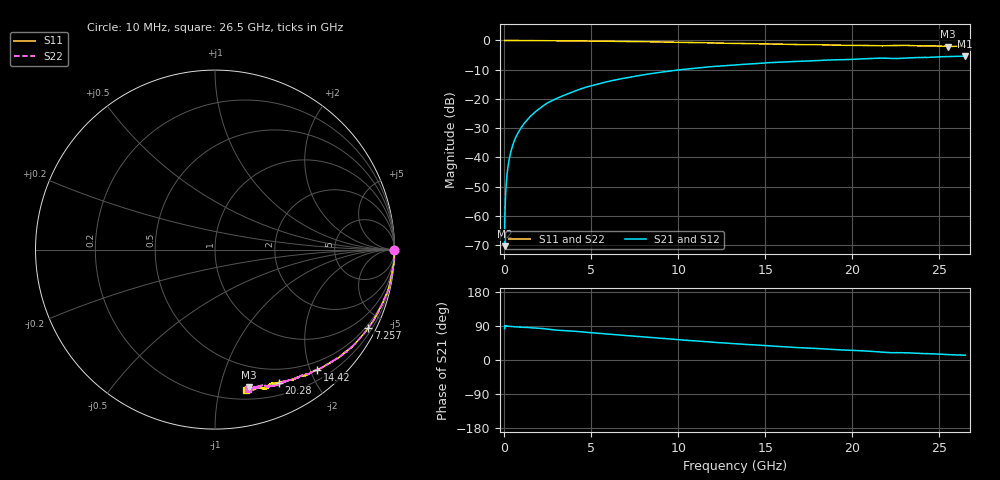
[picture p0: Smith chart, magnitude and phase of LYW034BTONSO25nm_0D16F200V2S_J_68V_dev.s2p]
!Keysight Technologies,N5222B,MY61253708,A.15.00.15
!Date: Wednesday, June 19, 2024 09:17:37
!Correction: S11(C  2-Port  )
!S21(C  2-Port  )
!S12(C  2-Port  )
!S22(C  2-Port  )
!S2P File: Measurements: S11, S21, S12, S22:
# Hz S  RI  R 50
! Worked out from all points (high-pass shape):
!   2651 points, 10 MHz to 26.5 GHz, reference 50 ohm
!   highest |S21| = -5.35 dB at 26.49 GHz (marker M1); lowest = -70.4 dB at 10 MHz (marker M2)
!   |S21| within 3 dB of the highest: 13.28 GHz to end of sweep
!   lowest |S11| = -2.1 dB at 25.5 GHz (marker M3), VSWR 8.43, Z = 15.3 - j61.6 ohm
!   |S11| at or under -10 dB: nowhere
!   |S22| runs from -2.0 to 0.0 dB; largest |S21 - S12| = 0.0067
!   S11 on the Smith chart (normalised r, x): 10 MHz: open; 7.257 GHz: 0.38, -4.11; 14.42 GHz: 0.36, -2.12; 20.28 GHz: 0.33, -1.54; 26.5 GHz: 0.28, -1.20
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1e7  0.9986 -0.00233  3.99e-05 0.0003  4.46e-05 0.000437  0.9989 -0.00112
7.997358e7  0.9998 -0.00583  2.17e-05 0.00273  -1.96e-05 0.0027  0.9994 -0.00537
1.499472e8  0.9998 -0.0112  6.43e-05 0.00509  5.85e-05 0.00514  0.9995 -0.0105
1.899321e8  1 -0.0131  0.000102 0.00645  7.07e-05 0.00649  0.9997 -0.0123
2.599057e8  0.9996 -0.0183  0.000172 0.00882  0.0002 0.00886  0.9995 -0.0173
3.598679e8  0.9992 -0.0252  0.000316 0.0122  0.000268 0.0123  0.9992 -0.0244
4.898189e8  0.9989 -0.034  0.000559 0.0166  0.000573 0.0167  0.9987 -0.0326
8.396868e8  0.9978 -0.0573  0.00158 0.0282  0.00163 0.0285  0.9978 -0.0566
1.459453e9  0.9901 -0.1004  0.00387 0.0494  0.00395 0.0497  0.9925 -0.096
2.339121e9  0.9805 -0.1554  0.0107 0.0798  0.0109 0.0804  0.982 -0.1553
3.198796e9  0.9688 -0.2111  0.0221 0.106  0.0224 0.1066  0.969 -0.2099
4.428332e9  0.9395 -0.2856  0.0404 0.1444  0.0408 0.1453  0.9416 -0.2821
7.257264e9  0.8535 -0.4372  0.106 0.2119  0.1074 0.2127  0.8561 -0.4348
8.846664e9  0.7946 -0.5079  0.1502 0.2391  0.1519 0.2398  0.7971 -0.5051
1.3255e10  0.615 -0.6453  0.2792 0.2607  0.2817 0.2605  0.6204 -0.6431
1.442456e10  0.5704 -0.6703  0.3097 0.2562  0.3121 0.2556  0.5741 -0.6665
1.767333e10  0.4414 -0.7206  0.3848 0.2302  0.3886 0.2284  0.4542 -0.7178
2.028235e10  0.3551 -0.7431  0.4351 0.2017  0.4379 0.1991  0.3738 -0.7446
2.209166e10  0.3071 -0.7498  0.4659 0.1665  0.4679 0.1634  0.3035 -0.7566
2.550038e10  0.189 -0.7649  0.5137 0.1288  0.5152 0.1285  0.2114 -0.7694
2.649e10  0.1679 -0.7792  0.5269 0.1183  0.5267 0.1136  0.1846 -0.7782
2.65e10  0.1703 -0.7796  0.527 0.1179  0.5265 0.1139  0.1851 -0.7792
